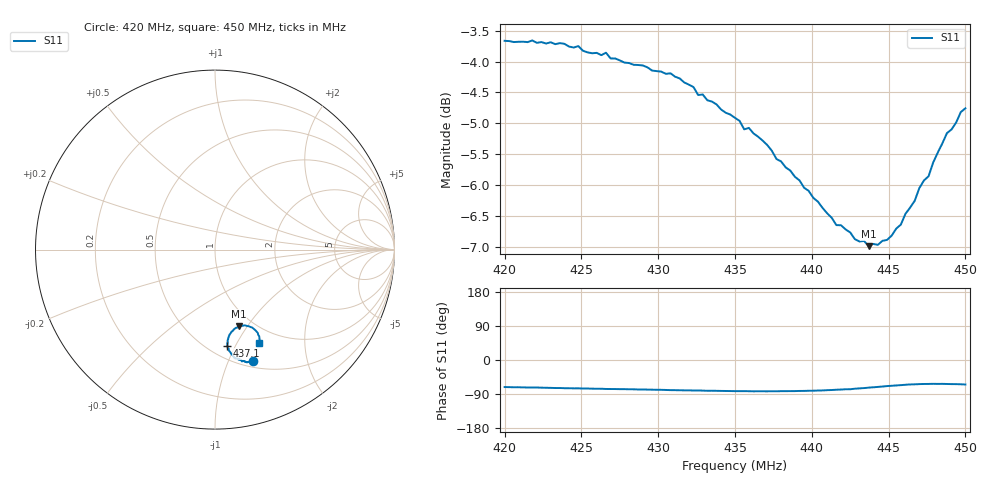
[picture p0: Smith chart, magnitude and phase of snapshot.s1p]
! Nitinol dipole; user-reported cable/fittings SOL calibration; existing calibration retained
# Hz S RI R 50
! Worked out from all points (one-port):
!   101 points, 420 MHz to 450 MHz, reference 50 ohm
!   lowest |S11| = -7.0 dB at 443.7 MHz (marker M1), VSWR 2.62, Z = 42.7 - j45.6 ohm
!   |S11| at or under -10 dB: nowhere
!   S11 on the Smith chart (normalised r, x): 420 MHz: 0.56, -1.23; 437.1 MHz: 0.61, -0.93; 450 MHz: 0.79, -1.24
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4.2e8  0.2093 -0.6215
4.221e8  0.1957 -0.6234
4.239e8  0.1755 -0.6281
4.254e8  0.1638 -0.6206
4.263e8  0.1555 -0.6193
4.266e8  0.1503 -0.6236
4.269e8  0.1473 -0.6173
4.275e8  0.1435 -0.6158
4.29e8  0.1333 -0.612
4.314e8  0.1072 -0.6019
4.323e8  0.1006 -0.5931
4.326e8  0.0992 -0.5844
4.329e8  0.0949 -0.5857
4.35e8  0.0775 -0.5627
4.356e8  0.0754 -0.5509
4.359e8  0.0745 -0.5525
4.371e8  0.0691 -0.5355
4.389e8  0.0707 -0.504
4.407e8  0.0811 -0.4734
4.416e8  0.0934 -0.4556
4.425e8  0.102 -0.4473
4.437e8  0.1314 -0.4274
4.449e8  0.1635 -0.4218
4.464e8  0.2065 -0.4338
4.476e8  0.2297 -0.4547
4.485e8  0.2463 -0.4824
4.497e8  0.2507 -0.5165
4.5e8  0.2472 -0.5228
